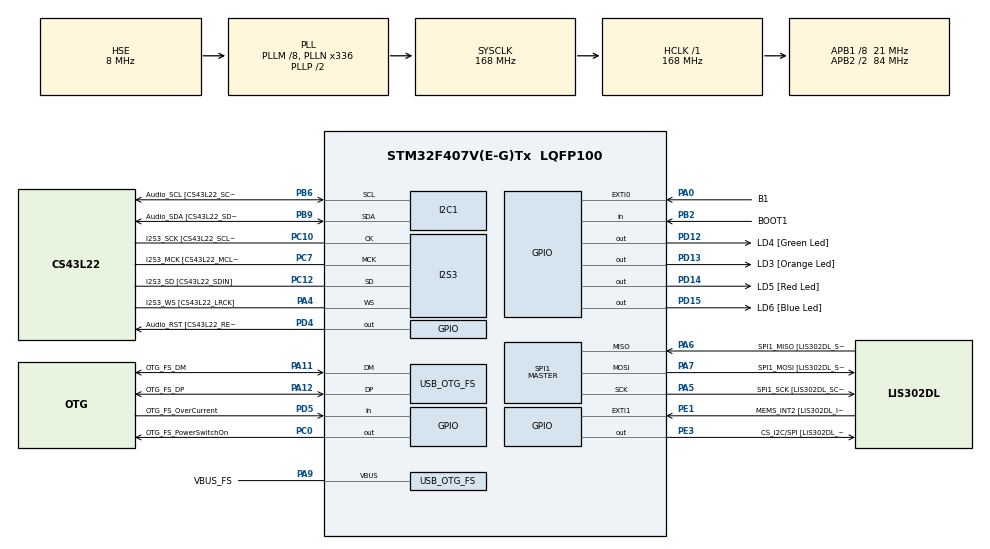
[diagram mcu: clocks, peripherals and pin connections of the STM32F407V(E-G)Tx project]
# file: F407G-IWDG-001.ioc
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I2S3.AudioFreq-Half_Duplex_Master=I2S_AUDIOFREQ_96K
I2S3.ErrorAudioFreq=-2.34 %
I2S3.ErrorAudioFreq-Half_Duplex_Master=0.8 %
I2S3.FullDuplexMode=I2S_FULLDUPLEXMODE_DISABLE
I2S3.Instance=SPI$Index
I2S3.RealAudioFreq=93.75 KHz
I2S3.RealAudioFreq-Half_Duplex_Master=96.774 KHz
I2S3.VirtualMode=I2S_MODE_MASTER
IWDG.Prescaler=IWDG_PRESCALER_16
IWDG.Reload=1199
Mcu.Family=STM32F4
Mcu.Name=STM32F407V(E-G)Tx
Mcu.Package=LQFP100
NVIC.EXTI0_IRQn=true\:0\:0\:false\:false\:true\:true\:true\:true
NVIC.OTG_FS_IRQn=true\:0\:0\:false\:false\:true\:true\:true\:true
NVIC.PriorityGroup=NVIC_PRIORITYGROUP_0
NVIC.TIM3_IRQn=true\:0\:0\:false\:false\:true\:true\:true\:true
PA0-WKUP.GPIO_Label=B1
PA0-WKUP.Signal=GPXTI0
PA10.GPIO_Label=OTG_FS_ID
PA10.GPIO_Mode=GPIO_MODE_AF_PP
PA10.GPIO_PuPd=GPIO_NOPULL
PA10.GPIO_Speed=GPIO_SPEED_FREQ_LOW
PA10.Signal=USB_OTG_FS_ID
PA11.GPIO_Label=OTG_FS_DM
PA11.GPIO_Mode=GPIO_MODE_AF_PP
PA11.GPIO_PuPd=GPIO_NOPULL
PA11.GPIO_Speed=GPIO_SPEED_FREQ_LOW
PA11.Mode=Host_Only
PA11.Signal=USB_OTG_FS_DM
PA12.GPIO_Label=OTG_FS_DP
PA12.GPIO_Mode=GPIO_MODE_AF_PP
PA12.GPIO_PuPd=GPIO_NOPULL
PA12.GPIO_Speed=GPIO_SPEED_FREQ_LOW
PA12.Mode=Host_Only
PA12.Signal=USB_OTG_FS_DP
PA13.GPIO_Label=SWDIO
PA13.Mode=Serial_Wire
PA13.Signal=SYS_JTMS-SWDIO
PA14.GPIO_Label=SWCLK
PA14.Mode=Serial_Wire
PA14.Signal=SYS_JTCK-SWCLK
PA4.GPIO_Label=I2S3_WS [CS43L22_LRCK]
PA4.GPIO_Mode=GPIO_MODE_AF_PP
PA4.GPIO_PuPd=GPIO_NOPULL
PA4.GPIO_Speed=GPIO_SPEED_FREQ_LOW
PA4.Mode=Half_Duplex_Master
PA4.Signal=I2S3_WS
PA5.GPIO_Label=SPI1_SCK [LIS302DL_SCL/SPC]
PA5.GPIO_Mode=GPIO_MODE_AF_PP
PA5.GPIO_PuPd=GPIO_NOPULL
PA5.GPIO_Speed=GPIO_SPEED_FREQ_LOW
PA5.Mode=Full_Duplex_Master
PA5.Signal=SPI1_SCK
PA6.GPIO_Label=SPI1_MISO [LIS302DL_SDO]
PA6.GPIO_Mode=GPIO_MODE_AF_PP
PA6.GPIO_PuPd=GPIO_NOPULL
PA6.GPIO_Speed=GPIO_SPEED_FREQ_LOW
PA6.Mode=Full_Duplex_Master
PA6.Signal=SPI1_MISO
PA7.GPIO_Label=SPI1_MOSI [LIS302DL_SDA/SDI/SDO]
PA7.GPIO_Mode=GPIO_MODE_AF_PP
PA7.GPIO_PuPd=GPIO_NOPULL
PA7.GPIO_Speed=GPIO_SPEED_FREQ_LOW
PA7.Mode=Full_Duplex_Master
PA7.Signal=SPI1_MOSI
PA9.GPIO_Label=VBUS_FS
PA9.GPIO_Mode=GPIO_MODE_INPUT
PA9.GPIO_PuPd=GPIO_NOPULL
PA9.Mode=Activate_VBUS
PA9.Signal=USB_OTG_FS_VBUS
PB10.GPIO_Label=CLK_IN [MP45DT02_CLK]
PB10.GPIO_Mode=GPIO_MODE_AF_PP
PB10.GPIO_PuPd=GPIO_NOPULL
PB10.GPIO_Speed=GPIO_SPEED_FREQ_LOW
PB10.Signal=I2S2_CK
PB2.GPIO_Label=BOOT1
PB2.GPIO_Mode=GPIO_MODE_INPUT
PB2.GPIO_PuPd=GPIO_NOPULL
PB2.Signal=GPIO_Input
PB3.GPIO_Label=SWO
PB3.Signal=SYS_JTDO-SWO
PB6.GPIO_Label=Audio_SCL [CS43L22_SCL]
PB6.GPIO_Mode=GPIO_MODE_AF_OD
PB6.GPIO_Pu=GPIO_PULLUP
PB6.GPIO_PuPd=GPIO_NOPULL
PB6.GPIO_Speed=GPIO_SPEED_FREQ_LOW
PB6.Mode=I2C
PB6.Signal=I2C1_SCL
PB9.GPIO_Label=Audio_SDA [CS43L22_SDA]
PB9.GPIO_Mode=GPIO_MODE_AF_OD
PB9.GPIO_Pu=GPIO_PULLUP
PB9.GPIO_PuPd=GPIO_NOPULL
PB9.GPIO_Speed=GPIO_SPEED_FREQ_LOW
PB9.Mode=I2C
PB9.Signal=I2C1_SDA
PC0.GPIO_Label=OTG_FS_PowerSwitchOn
PC0.GPIO_PuPd=GPIO_NOPULL
PC0.GPIO_Speed=GPIO_SPEED_FREQ_LOW
PC0.PinState=GPIO_PIN_SET
PC0.Signal=GPIO_Output
PC10.GPIO_Label=I2S3_SCK [CS43L22_SCLK]
PC10.GPIO_Mode=GPIO_MODE_AF_PP
PC10.GPIO_PuPd=GPIO_NOPULL
PC10.GPIO_Speed=GPIO_SPEED_FREQ_LOW
PC10.Mode=Half_Duplex_Master
PC10.Signal=I2S3_CK
PC12.GPIO_Label=I2S3_SD [CS43L22_SDIN]
PC12.GPIO_Mode=GPIO_MODE_AF_PP
PC12.GPIO_PuPd=GPIO_NOPULL
PC12.GPIO_Speed=GPIO_SPEED_FREQ_LOW
PC12.Mode=Half_Duplex_Master
PC12.Signal=I2S3_SD
PC14-OSC32_IN.GPIO_Label=PC14-OSC32_IN
PC14-OSC32_IN.Mode=LSE-External-Oscillator
PC14-OSC32_IN.Signal=RCC_OSC32_IN
PC15-OSC32_OUT.GPIO_Label=PC15-OSC32_OUT
PC15-OSC32_OUT.Mode=LSE-External-Oscillator
PC15-OSC32_OUT.Signal=RCC_OSC32_OUT
PC3.GPIO_Label=PDM_OUT [MP45DT02_DOUT]
PC3.GPIO_Mode=GPIO_MODE_AF_PP
PC3.GPIO_PuPd=GPIO_NOPULL
PC3.GPIO_Speed=GPIO_SPEED_FREQ_LOW
PC3.Signal=I2S2_SD
PC7.GPIO_Label=I2S3_MCK [CS43L22_MCLK]
PC7.GPIO_Mode=GPIO_MODE_AF_PP
PC7.GPIO_PuPd=GPIO_NOPULL
PC7.GPIO_Speed=GPIO_SPEED_FREQ_LOW
PC7.Mode=Master_Clock_Activated
PC7.Signal=I2S3_MCK
PD12.GPIO_Label=LD4 [Green Led]
PD12.GPIO_PuPd=GPIO_NOPULL
PD12.GPIO_Speed=GPIO_SPEED_FREQ_LOW
PD12.Signal=GPIO_Output
PD13.GPIO_Label=LD3 [Orange Led]
PD13.GPIO_PuPd=GPIO_NOPULL
PD13.GPIO_Speed=GPIO_SPEED_FREQ_LOW
PD13.Signal=GPIO_Output
PD14.GPIO_Label=LD5 [Red Led]
PD14.GPIO_PuPd=GPIO_NOPULL
PD14.GPIO_Speed=GPIO_SPEED_FREQ_LOW
PD14.Signal=GPIO_Output
PD15.GPIO_Label=LD6 [Blue Led]
PD15.GPIO_PuPd=GPIO_NOPULL
PD15.GPIO_Speed=GPIO_SPEED_FREQ_LOW
PD15.Signal=GPIO_Output
PD4.GPIO_Label=Audio_RST [CS43L22_RESET]
PD4.GPIO_PuPd=GPIO_NOPULL
PD4.GPIO_Speed=GPIO_SPEED_FREQ_LOW
PD4.Signal=GPIO_Output
PD5.GPIO_Label=OTG_FS_OverCurrent
PD5.GPIO_Mode=GPIO_MODE_INPUT
PD5.GPIO_PuPd=GPIO_NOPULL
PD5.Signal=GPIO_Input
PE1.GPIO_Label=MEMS_INT2 [LIS302DL_INT2]
PE1.GPIO_ModeDefaultEXTI=GPIO_MODE_EVT_RISING
PE1.GPIO_PuPd=GPIO_NOPULL
PE1.Signal=GPXTI1
PE3.GPIO_Label=CS_I2C/SPI [LIS302DL_CS_I2C/SPI]
PE3.GPIO_PuPd=GPIO_NOPULL
PE3.GPIO_Speed=GPIO_SPEED_FREQ_LOW
PE3.Signal=GPIO_Output
PH0-OSC_IN.GPIO_Label=PH0-OSC_IN
PH0-OSC_IN.Mode=HSE-External-Oscillator
PH0-OSC_IN.Signal=RCC_OSC_IN
PH1-OSC_OUT.GPIO_Label=PH1-OSC_OUT
PH1-OSC_OUT.Mode=HSE-External-Oscillator
PH1-OSC_OUT.Signal=RCC_OSC_OUT
ProjectManager.HeapSize=0x200
ProjectManager.StackSize=0x400
ProjectManager.TargetToolchain=STM32CubeIDE
RCC.48MHZClocksFreq_Value=48000000
RCC.AHBFreq_Value=168000000
RCC.APB1CLKDivider=RCC_HCLK_DIV8
RCC.APB1Freq_Value=21000000
RCC.APB1TimFreq_Value=42000000
RCC.APB2CLKDivider=RCC_HCLK_DIV2
RCC.APB2Freq_Value=84000000
RCC.APB2TimFreq_Value=168000000
RCC.CortexFreq_Value=168000000
RCC.HCLKFreq_Value=168000000
RCC.HSE_VALUE=8000000
RCC.HSI_VALUE=16000000
RCC.PLLM=8
RCC.PLLN=336
RCC.PLLQ=7
RCC.SYSCLKFreq_VALUE=168000000
RCC.SYSCLKSource=RCC_SYSCLKSOURCE_PLLCLK
RCC.VCOOutputFreq_Value=336000000
SPI1.BaudRatePrescaler-Full_Duplex_Master=SPI_BAUDRATEPRESCALER_2
SPI1.CalculateBaudRate-Full_Duplex_Master=42.0 MBits/s
SPI1.Direction=SPI_DIRECTION_2LINES
SPI1.Mode=SPI_MODE_MASTER
SPI1.Mode-Full_Duplex_Master=SPI_MODE_MASTER
SPI1.VirtualType=VM_MASTER
TIM3.Period=500-1
TIM3.Prescaler=42000-1
USB_HOST.BSP.number=1
USB_HOST.USBH_HandleTypeDef-CDC_FS=hUsbHostFS
USB_HOST.VirtualModeFS=Cdc
USB_HOST0.BSP.STBoard=false
USB_HOST0.BSP.api=Unknown
USB_HOST0.BSP.instance=PC0
USB_HOST0.BSP.ip=GPIO
USB_HOST0.BSP.mode=Output
USB_HOST0.BSP.name=Drive_VBUS_FS
USB_HOST0.BSP.solution=PC0
USB_OTG_FS.VirtualMode=Host_Only
USB_OTG_FS.phy_itface=HCD_PHY_EMBEDDED
VP_IWDG_VS_IWDG.Mode=IWDG_Activate
VP_TIM3_VS_ClockSourceINT.Mode=Internal
VP_USB_HOST_VS_USB_HOST_CDC_FS.Mode=CDC_FS
board=STM32F407G-DISC1

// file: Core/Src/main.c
/* USER CODE BEGIN Header */
/**
  ******************************************************************************
  * @file           : main.c
  * @brief          : Main program body
  ******************************************************************************
  * @attention
  *
  * Copyright (c) 2025 STMicroelectronics.
  * All rights reserved.
  *
  * This software is licensed under terms that can be found in the LICENSE file
  * in the root directory of this software component.
  * If no LICENSE file comes with this software, it is provided AS-IS.
  *
  ******************************************************************************
  */
/* USER CODE END Header */
#include "main.h"
#include "usb_host.h"

I2C_HandleTypeDef hi2c1;

I2S_HandleTypeDef hi2s3;

IWDG_HandleTypeDef hiwdg;

SPI_HandleTypeDef hspi1;

TIM_HandleTypeDef htim3;

/* USER CODE BEGIN PV */
uint8_t wdg_refresh = 0;
uint8_t button_pressed = 0;
uint8_t wdg_reset_occurred = 0;
/* USER CODE END PV */

void SystemClock_Config(void);
static void MX_GPIO_Init(void);
static void MX_I2C1_Init(void);
static void MX_I2S3_Init(void);
static void MX_SPI1_Init(void);
static void MX_TIM3_Init(void);
static void MX_IWDG_Init(void);
void MX_USB_HOST_Process(void);

int main(void)
{

  /* USER CODE BEGIN 1 */
  // Use the HAL macro to check the Independent Watchdog Reset Flag
  if (__HAL_RCC_GET_FLAG(RCC_FLAG_IWDGRST) != RESET)
  {
      // The flag is set, meaning the IWDG caused the last reset.
    wdg_reset_occurred = 1;

      // Perform any required action (e.g., logging the event, restoring data)
  }

  // It is CRITICAL to clear the reset flags, or they will remain set
  // indefinitely (until full power-cycle or explicit clear) and cause
  // false readings on the next reset.
  __HAL_RCC_CLEAR_RESET_FLAGS();
  /* USER CODE END 1 */

  /* MCU Configuration--------------------------------------------------------*/

  /* Reset of all peripherals, Initializes the Flash interface and the Systick. */
  HAL_Init();

  /* Configure the system clock */
  SystemClock_Config();

  /* Initialize all configured peripherals */
  MX_GPIO_Init();
  MX_I2C1_Init();
  MX_I2S3_Init();
  MX_SPI1_Init();
  MX_USB_HOST_Init();
  MX_TIM3_Init();
  MX_IWDG_Init();
  /* USER CODE BEGIN 2 */
  HAL_GPIO_WritePin(GPIOD, LD4_Pin|LD3_Pin|LD5_Pin|LD6_Pin, GPIO_PIN_SET);
  HAL_TIM_Base_Start_IT(&htim3);
  /* USER CODE END 2 */

  /* Infinite loop */
  while (1)
  {
    MX_USB_HOST_Process();

  }
}

void SystemClock_Config(void)
{
  RCC_OscInitTypeDef RCC_OscInitStruct = {0};
  RCC_ClkInitTypeDef RCC_ClkInitStruct = {0};

  /** Configure the main internal regulator output voltage
  */
  __HAL_RCC_PWR_CLK_ENABLE();
  __HAL_PWR_VOLTAGESCALING_CONFIG(PWR_REGULATOR_VOLTAGE_SCALE1);

  /** Initializes the RCC Oscillators according to the specified parameters
  * in the RCC_OscInitTypeDef structure.
  */
  RCC_OscInitStruct.OscillatorType = RCC_OSCILLATORTYPE_LSI|RCC_OSCILLATORTYPE_HSE;
  RCC_OscInitStruct.HSEState = RCC_HSE_ON;
  RCC_OscInitStruct.LSIState = RCC_LSI_ON;
  RCC_OscInitStruct.PLL.PLLState = RCC_PLL_ON;
  RCC_OscInitStruct.PLL.PLLSource = RCC_PLLSOURCE_HSE;
  RCC_OscInitStruct.PLL.PLLM = 8;
  RCC_OscInitStruct.PLL.PLLN = 336;
  RCC_OscInitStruct.PLL.PLLP = RCC_PLLP_DIV2;
  RCC_OscInitStruct.PLL.PLLQ = 7;
  if (HAL_RCC_OscConfig(&RCC_OscInitStruct) != HAL_OK)
  {
    Error_Handler();
  }

  /** Initializes the CPU, AHB and APB buses clocks
  */
  RCC_ClkInitStruct.ClockType = RCC_CLOCKTYPE_HCLK|RCC_CLOCKTYPE_SYSCLK
                              |RCC_CLOCKTYPE_PCLK1|RCC_CLOCKTYPE_PCLK2;
  RCC_ClkInitStruct.SYSCLKSource = RCC_SYSCLKSOURCE_PLLCLK;
  RCC_ClkInitStruct.AHBCLKDivider = RCC_SYSCLK_DIV1;
  RCC_ClkInitStruct.APB1CLKDivider = RCC_HCLK_DIV8;
  RCC_ClkInitStruct.APB2CLKDivider = RCC_HCLK_DIV2;

  if (HAL_RCC_ClockConfig(&RCC_ClkInitStruct, FLASH_LATENCY_5) != HAL_OK)
  {
    Error_Handler();
  }
}

static void MX_I2C1_Init(void)
{

  hi2c1.Instance = I2C1;
  hi2c1.Init.ClockSpeed = 100000;
  hi2c1.Init.DutyCycle = I2C_DUTYCYCLE_2;
  hi2c1.Init.OwnAddress1 = 0;
  hi2c1.Init.AddressingMode = I2C_ADDRESSINGMODE_7BIT;
  hi2c1.Init.DualAddressMode = I2C_DUALADDRESS_DISABLE;
  hi2c1.Init.OwnAddress2 = 0;
  hi2c1.Init.GeneralCallMode = I2C_GENERALCALL_DISABLE;
  hi2c1.Init.NoStretchMode = I2C_NOSTRETCH_DISABLE;
  if (HAL_I2C_Init(&hi2c1) != HAL_OK)
  {
    Error_Handler();
  }

}

static void MX_I2S3_Init(void)
{

  hi2s3.Instance = SPI3;
  hi2s3.Init.Mode = I2S_MODE_MASTER_TX;
  hi2s3.Init.Standard = I2S_STANDARD_PHILIPS;
  hi2s3.Init.DataFormat = I2S_DATAFORMAT_16B;
  hi2s3.Init.MCLKOutput = I2S_MCLKOUTPUT_ENABLE;
  hi2s3.Init.AudioFreq = I2S_AUDIOFREQ_96K;
  hi2s3.Init.CPOL = I2S_CPOL_LOW;
  hi2s3.Init.ClockSource = I2S_CLOCK_PLL;
  hi2s3.Init.FullDuplexMode = I2S_FULLDUPLEXMODE_DISABLE;
  if (HAL_I2S_Init(&hi2s3) != HAL_OK)
  {
    Error_Handler();
  }

}

static void MX_IWDG_Init(void)
{

  hiwdg.Instance = IWDG;
  hiwdg.Init.Prescaler = IWDG_PRESCALER_16;
  hiwdg.Init.Reload = 1199;
  if (HAL_IWDG_Init(&hiwdg) != HAL_OK)
  {
    Error_Handler();
  }

}

static void MX_SPI1_Init(void)
{

  /* SPI1 parameter configuration*/
  hspi1.Instance = SPI1;
  hspi1.Init.Mode = SPI_MODE_MASTER;
  hspi1.Init.Direction = SPI_DIRECTION_2LINES;
  hspi1.Init.DataSize = SPI_DATASIZE_8BIT;
  hspi1.Init.CLKPolarity = SPI_POLARITY_LOW;
  hspi1.Init.CLKPhase = SPI_PHASE_1EDGE;
  hspi1.Init.NSS = SPI_NSS_SOFT;
  hspi1.Init.BaudRatePrescaler = SPI_BAUDRATEPRESCALER_2;
  hspi1.Init.FirstBit = SPI_FIRSTBIT_MSB;
  hspi1.Init.TIMode = SPI_TIMODE_DISABLE;
  hspi1.Init.CRCCalculation = SPI_CRCCALCULATION_DISABLE;
  hspi1.Init.CRCPolynomial = 10;
  if (HAL_SPI_Init(&hspi1) != HAL_OK)
  {
    Error_Handler();
  }

}

static void MX_TIM3_Init(void)
{

  TIM_ClockConfigTypeDef sClockSourceConfig = {0};
  TIM_MasterConfigTypeDef sMasterConfig = {0};

  htim3.Instance = TIM3;
  htim3.Init.Prescaler = 42000-1;
  htim3.Init.CounterMode = TIM_COUNTERMODE_UP;
  htim3.Init.Period = 500-1;
  htim3.Init.ClockDivision = TIM_CLOCKDIVISION_DIV1;
  htim3.Init.AutoReloadPreload = TIM_AUTORELOAD_PRELOAD_DISABLE;
  if (HAL_TIM_Base_Init(&htim3) != HAL_OK)
  {
    Error_Handler();
  }
  sClockSourceConfig.ClockSource = TIM_CLOCKSOURCE_INTERNAL;
  if (HAL_TIM_ConfigClockSource(&htim3, &sClockSourceConfig) != HAL_OK)
  {
    Error_Handler();
  }
  sMasterConfig.MasterOutputTrigger = TIM_TRGO_RESET;
  sMasterConfig.MasterSlaveMode = TIM_MASTERSLAVEMODE_DISABLE;
  if (HAL_TIMEx_MasterConfigSynchronization(&htim3, &sMasterConfig) != HAL_OK)
  {
    Error_Handler();
  }

}

static void MX_GPIO_Init(void)
{
  GPIO_InitTypeDef GPIO_InitStruct = {0};

  /* GPIO Ports Clock Enable */
  __HAL_RCC_GPIOE_CLK_ENABLE();
  __HAL_RCC_GPIOC_CLK_ENABLE();
  __HAL_RCC_GPIOH_CLK_ENABLE();
  __HAL_RCC_GPIOA_CLK_ENABLE();
  __HAL_RCC_GPIOB_CLK_ENABLE();
  __HAL_RCC_GPIOD_CLK_ENABLE();

  /*Configure GPIO pin Output Level */
  HAL_GPIO_WritePin(CS_I2C_SPI_GPIO_Port, CS_I2C_SPI_Pin, GPIO_PIN_RESET);

  /*Configure GPIO pin Output Level */
  HAL_GPIO_WritePin(OTG_FS_PowerSwitchOn_GPIO_Port, OTG_FS_PowerSwitchOn_Pin, GPIO_PIN_SET);

  /*Configure GPIO pin Output Level */
  HAL_GPIO_WritePin(GPIOD, LD4_Pin|LD3_Pin|LD5_Pin|LD6_Pin
                          |Audio_RST_Pin, GPIO_PIN_RESET);

  /*Configure GPIO pin : CS_I2C_SPI_Pin */
  GPIO_InitStruct.Pin = CS_I2C_SPI_Pin;
  GPIO_InitStruct.Mode = GPIO_MODE_OUTPUT_PP;
  GPIO_InitStruct.Pull = GPIO_NOPULL;
  GPIO_InitStruct.Speed = GPIO_SPEED_FREQ_LOW;
  HAL_GPIO_Init(CS_I2C_SPI_GPIO_Port, &GPIO_InitStruct);

  /*Configure GPIO pin : OTG_FS_PowerSwitchOn_Pin */
  GPIO_InitStruct.Pin = OTG_FS_PowerSwitchOn_Pin;
  GPIO_InitStruct.Mode = GPIO_MODE_OUTPUT_PP;
  GPIO_InitStruct.Pull = GPIO_NOPULL;
  GPIO_InitStruct.Speed = GPIO_SPEED_FREQ_LOW;
  HAL_GPIO_Init(OTG_FS_PowerSwitchOn_GPIO_Port, &GPIO_InitStruct);

  /*Configure GPIO pin : PDM_OUT_Pin */
  GPIO_InitStruct.Pin = PDM_OUT_Pin;
  GPIO_InitStruct.Mode = GPIO_MODE_AF_PP;
  GPIO_InitStruct.Pull = GPIO_NOPULL;
  GPIO_InitStruct.Speed = GPIO_SPEED_FREQ_LOW;
  GPIO_InitStruct.Alternate = GPIO_AF5_SPI2;
  HAL_GPIO_Init(PDM_OUT_GPIO_Port, &GPIO_InitStruct);

  /*Configure GPIO pin : B1_Pin */
  GPIO_InitStruct.Pin = B1_Pin;
  GPIO_InitStruct.Mode = GPIO_MODE_IT_RISING;
  GPIO_InitStruct.Pull = GPIO_NOPULL;
  HAL_GPIO_Init(B1_GPIO_Port, &GPIO_InitStruct);

  /*Configure GPIO pin : BOOT1_Pin */
  GPIO_InitStruct.Pin = BOOT1_Pin;
  GPIO_InitStruct.Mode = GPIO_MODE_INPUT;
  GPIO_InitStruct.Pull = GPIO_NOPULL;
  HAL_GPIO_Init(BOOT1_GPIO_Port, &GPIO_InitStruct);

  /*Configure GPIO pin : CLK_IN_Pin */
  GPIO_InitStruct.Pin = CLK_IN_Pin;
  GPIO_InitStruct.Mode = GPIO_MODE_AF_PP;
  GPIO_InitStruct.Pull = GPIO_NOPULL;
  GPIO_InitStruct.Speed = GPIO_SPEED_FREQ_LOW;
  GPIO_InitStruct.Alternate = GPIO_AF5_SPI2;
  HAL_GPIO_Init(CLK_IN_GPIO_Port, &GPIO_InitStruct);

  /*Configure GPIO pins : LD4_Pin LD3_Pin LD5_Pin LD6_Pin
                           Audio_RST_Pin */
  GPIO_InitStruct.Pin = LD4_Pin|LD3_Pin|LD5_Pin|LD6_Pin
                          |Audio_RST_Pin;
  GPIO_InitStruct.Mode = GPIO_MODE_OUTPUT_PP;
  GPIO_InitStruct.Pull = GPIO_NOPULL;
  GPIO_InitStruct.Speed = GPIO_SPEED_FREQ_LOW;
  HAL_GPIO_Init(GPIOD, &GPIO_InitStruct);

  /*Configure GPIO pin : OTG_FS_OverCurrent_Pin */
  GPIO_InitStruct.Pin = OTG_FS_OverCurrent_Pin;
  GPIO_InitStruct.Mode = GPIO_MODE_INPUT;
  GPIO_InitStruct.Pull = GPIO_NOPULL;
  HAL_GPIO_Init(OTG_FS_OverCurrent_GPIO_Port, &GPIO_InitStruct);

  /*Configure GPIO pin : MEMS_INT2_Pin */
  GPIO_InitStruct.Pin = MEMS_INT2_Pin;
  GPIO_InitStruct.Mode = GPIO_MODE_EVT_RISING;
  GPIO_InitStruct.Pull = GPIO_NOPULL;
  HAL_GPIO_Init(MEMS_INT2_GPIO_Port, &GPIO_InitStruct);

  /* EXTI interrupt init*/
  HAL_NVIC_SetPriority(EXTI0_IRQn, 0, 0);
  HAL_NVIC_EnableIRQ(EXTI0_IRQn);

}

/* USER CODE BEGIN 4 */
void HAL_TIM_PeriodElapsedCallback(TIM_HandleTypeDef *htim)
{
  HAL_StatusTypeDef ret = HAL_OK;

  // Check if the interrupt comes from TIM3
  if (htim->Instance == TIM3)
  {
    if (button_pressed == 0)
    {
      ret = HAL_IWDG_Refresh(&hiwdg);
    }

    // Error handler
    if (ret != HAL_OK)
    {
      Error_Handler();
    }

    // Toggle the value to show that WDG is refresh
    wdg_refresh = !wdg_refresh;
  }
}

void HAL_GPIO_EXTI_Callback(uint16_t GPIO_Pin)
{
    if (GPIO_Pin == GPIO_PIN_0) // User Button PA0
    {
      button_pressed = 1;
    }
}
/* USER CODE END 4 */

void Error_Handler(void)
{
  __disable_irq();
  while (1)
  {
  }
}
